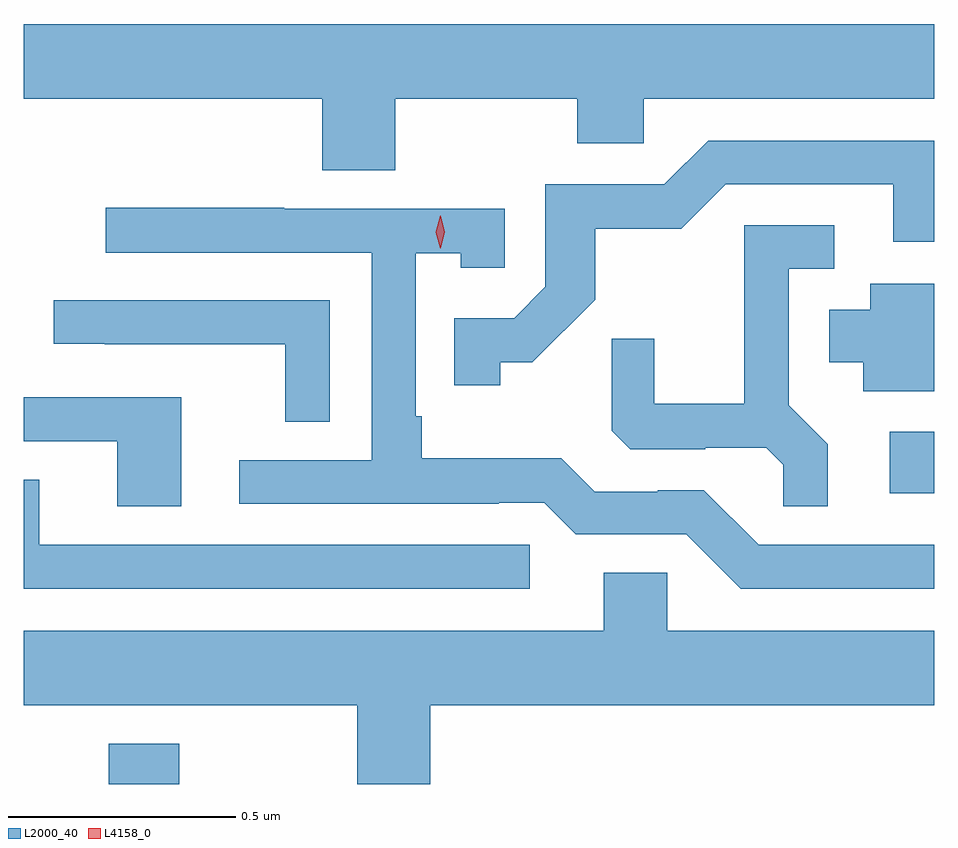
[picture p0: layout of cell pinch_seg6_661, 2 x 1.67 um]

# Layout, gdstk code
import gdstk
lib = gdstk.Library(unit=1e-6, precision=1e-09)
def R(c, l, rs):  # rectangles x0, y0, x1, y1
    for r in rs: c.add(gdstk.rectangle(r[:2], r[2:], *l))
def P(c, l, *ps):  # polygons
    for p in ps: c.add(gdstk.Polygon(p, *l))
L2000_40 = (2000, 40)
L4158_0 = (4158, 0)

pinch_seg6_661 = lib.new_cell('pinch_seg6_661')
R(pinch_seg6_661, L2000_40, [(389.662,924.519,389.817,924.607), (391.377,925.157,391.475,925.293)])
P(pinch_seg6_661, L2000_40, [(389.475,926.024),(390.131,926.024),(390.131,925.867),(390.291,925.867),(390.291,926.024),(390.691,926.024),(390.691,925.926),(390.837,925.926),(390.837,926.024),(391.475,926.024),(391.475,926.188),(389.475,926.188)],
  [(390.522,925.445),(390.592,925.445),(390.73,925.582),(390.73,925.738),(390.919,925.738),(391.017,925.836),(391.385,925.836),(391.385,925.71),(391.475,925.71),(391.475,925.932),(390.978,925.932),(390.882,925.836),(390.621,925.836),(390.621,925.611),(390.552,925.542),(390.421,925.542),(390.421,925.395),(390.522,925.395)],
  [(391.475,925.044),(391.089,925.044),(390.969,925.164),(390.868,925.164),(390.868,925.161),(390.729,925.161),(390.656,925.234),(390.349,925.234),(390.349,925.327),(390.336,925.327),(390.336,925.685),(390.435,925.685),(390.435,925.653),(390.531,925.653),(390.531,925.782),(390.047,925.782),(390.047,925.785),(389.655,925.785),(389.655,925.686),(390.24,925.686),(390.24,925.23),(389.949,925.23),(389.949,925.134),(390.518,925.134),(390.518,925.137),(390.618,925.137),(390.687,925.068),(390.93,925.068),(391.05,924.948),(391.475,924.948)],
  [(391.241,925.265),(391.155,925.351),(391.155,925.65),(391.255,925.65),(391.255,925.746),(391.058,925.746),(391.058,925.354),(390.86,925.354),(390.86,925.497),(390.766,925.497),(390.766,925.295),(390.807,925.254),(390.972,925.254),(390.972,925.257),(391.106,925.257),(391.143,925.22),(391.143,925.129),(391.241,925.129)],
  [(391.475,925.618),(391.334,925.618),(391.334,925.561),(391.244,925.561),(391.244,925.445),(391.319,925.445),(391.319,925.382),(391.475,925.382)],
  [(390.147,925.581),(389.541,925.581),(389.541,925.486),(389.653,925.486),(389.653,925.485),(390.049,925.485),(390.049,925.315),(390.147,925.315)],
  [(389.821,925.368),(389.475,925.368),(389.475,925.272),(389.681,925.272),(389.681,925.129),(389.821,925.129)],
  [(390.586,925.044),(389.509,925.044),(389.509,925.187),(389.475,925.187),(389.475,924.948),(390.586,924.948)],
  [(390.749,924.983),(390.749,924.856),(389.475,924.856),(389.475,924.692),(390.208,924.692),(390.208,924.519),(390.368,924.519),(390.368,924.692),(391.475,924.692),(391.475,924.856),(390.888,924.856),(390.888,924.983)])
P(pinch_seg6_661, L4158_0, [(390.39,925.695),(390.39,925.695),(390.38,925.731),(390.39,925.767),(390.39,925.767),(390.391,925.767),(390.4,925.731),(390.391,925.695)])

lib.write_gds('pinch_seg6_661.gds')
